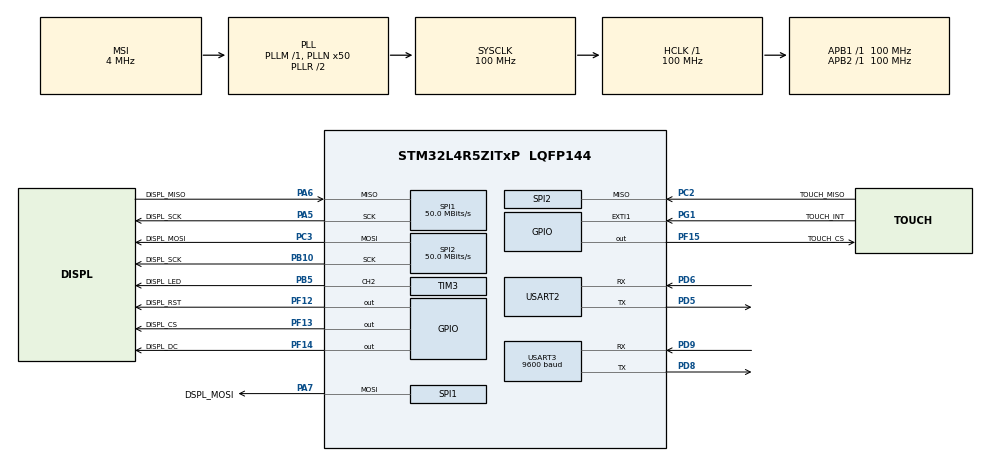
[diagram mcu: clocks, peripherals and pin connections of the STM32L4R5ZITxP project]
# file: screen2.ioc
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Dma.Request0=SPI2_TX
Dma.Request1=SPI1_TX
Dma.SPI1_TX.1.Direction=DMA_MEMORY_TO_PERIPH
Dma.SPI1_TX.1.EventEnable=DISABLE
Dma.SPI1_TX.1.Instance=DMA1_Channel2
Dma.SPI1_TX.1.MemDataAlignment=DMA_MDATAALIGN_BYTE
Dma.SPI1_TX.1.MemInc=DMA_MINC_ENABLE
Dma.SPI1_TX.1.Mode=DMA_NORMAL
Dma.SPI1_TX.1.PeriphDataAlignment=DMA_PDATAALIGN_BYTE
Dma.SPI1_TX.1.PeriphInc=DMA_PINC_DISABLE
Dma.SPI1_TX.1.Polarity=HAL_DMAMUX_REQUEST_GEN_RISING
Dma.SPI1_TX.1.Priority=DMA_PRIORITY_LOW
Dma.SPI1_TX.1.RequestNumber=1
Dma.SPI1_TX.1.SignalID=NONE
Dma.SPI1_TX.1.SyncEnable=DISABLE
Dma.SPI1_TX.1.SyncPolarity=HAL_DMAMUX_SYNC_NO_EVENT
Dma.SPI1_TX.1.SyncRequestNumber=1
Dma.SPI1_TX.1.SyncSignalID=NONE
Dma.SPI2_TX.0.Direction=DMA_MEMORY_TO_PERIPH
Dma.SPI2_TX.0.EventEnable=DISABLE
Dma.SPI2_TX.0.Instance=DMA1_Channel1
Dma.SPI2_TX.0.MemDataAlignment=DMA_MDATAALIGN_BYTE
Dma.SPI2_TX.0.MemInc=DMA_MINC_ENABLE
Dma.SPI2_TX.0.Mode=DMA_NORMAL
Dma.SPI2_TX.0.PeriphDataAlignment=DMA_PDATAALIGN_BYTE
Dma.SPI2_TX.0.PeriphInc=DMA_PINC_DISABLE
Dma.SPI2_TX.0.Polarity=HAL_DMAMUX_REQUEST_GEN_RISING
Dma.SPI2_TX.0.Priority=DMA_PRIORITY_LOW
Dma.SPI2_TX.0.RequestNumber=1
Dma.SPI2_TX.0.SignalID=NONE
Dma.SPI2_TX.0.SyncEnable=DISABLE
Dma.SPI2_TX.0.SyncPolarity=HAL_DMAMUX_SYNC_NO_EVENT
Dma.SPI2_TX.0.SyncRequestNumber=1
Dma.SPI2_TX.0.SyncSignalID=NONE
Mcu.Family=STM32L4
Mcu.Name=STM32L4R5ZITxP
Mcu.Package=LQFP144
NVIC.DMA1_Channel1_IRQn=true\:0\:0\:false\:false\:true\:false\:true\:true
NVIC.DMA1_Channel2_IRQn=true\:0\:0\:false\:false\:true\:false\:true\:true
NVIC.EXTI1_IRQn=true\:0\:0\:false\:false\:true\:true\:true\:true
NVIC.PriorityGroup=NVIC_PRIORITYGROUP_4
NVIC.SPI1_IRQn=true\:0\:0\:false\:false\:true\:true\:true\:true
NVIC.SPI2_IRQn=true\:0\:0\:false\:false\:true\:true\:true\:true
NVIC.USART2_IRQn=true\:0\:0\:false\:false\:true\:true\:true\:true
NVIC.USART3_IRQn=true\:0\:0\:false\:false\:true\:true\:true\:true
PA1.Signal=USART2_RTS
PA10.Signal=USB_OTG_FS_ID
PA13\ (JTMS/SWDIO).Mode=Serial_Wire
PA13\ (JTMS/SWDIO).Signal=SYS_JTMS-SWDIO
PA14\ (JTCK/SWCLK).Mode=Serial_Wire
PA14\ (JTCK/SWCLK).Signal=SYS_JTCK-SWCLK
PA3.Signal=ADCx_IN8
PA4.Signal=SPI1_NSS
PA5.GPIO_Label=DISPL_SCK
PA5.Mode=Full_Duplex_Master
PA5.Signal=SPI1_SCK
PA6.GPIO_Label=DISPL_MISO
PA6.Mode=Full_Duplex_Master
PA6.Signal=SPI1_MISO
PA7.GPIO_Label=DSPL_MOSI
PA7.Mode=Full_Duplex_Master
PA7.Signal=SPI1_MOSI
PA9.Signal=USB_OTG_FS_VBUS
PB0.Signal=S_TIM3_CH3
PB1.Signal=ADCx_IN16
PB10.GPIO_Label=DISPL_SCK
PB10.Mode=Full_Duplex_Master
PB10.Signal=SPI2_SCK
PB12.Signal=SAI2_FS_A
PB13.Signal=SAI2_SCK_A
PB14.Signal=S_TIM15_CH1
PB15.Signal=SAI2_SD_A
PB2.Signal=COMP1_INP
PB5.GPIO_Label=DISPL_LED
PB5.Signal=S_TIM3_CH2
PB6.Signal=COMP2_INP
PB8.Signal=I2C1_SCL
PB9.Signal=I2C1_SDA
PC0.Signal=ADCx_IN1
PC10.Signal=SDMMC1_D2
PC11.Signal=SDMMC1_D3
PC12.Signal=SDMMC1_CK
PC13.Signal=SYS_WKUP2
PC14-OSC32_IN\ (PC14).Signal=RCC_OSC32_IN
PC15-OSC32_OUT\ (PC15).Signal=RCC_OSC32_OUT
PC2.GPIO_Label=TOUCH_MISO
PC2.Mode=Full_Duplex_Master
PC2.Signal=SPI2_MISO
PC3.GPIO_Label=DISPL_MOSI
PC3.Mode=Full_Duplex_Master
PC3.Signal=SPI2_MOSI
PC4.Signal=ADCx_IN13
PC6.Signal=S_TIM3_CH1
PC8.Signal=SDMMC1_D0
PC9.Signal=SDMMC1_D1
PD14.Signal=S_TIM4_CH3
PD15.Signal=S_TIM4_CH4
PD2.Signal=SDMMC1_CMD
PD3.Signal=USART2_CTS
PD5.Mode=Asynchronous
PD5.Signal=USART2_TX
PD6.Mode=Asynchronous
PD6.Signal=USART2_RX
PD8.Mode=Asynchronous
PD8.Signal=USART3_TX
PD9.Mode=Asynchronous
PD9.Signal=USART3_RX
PE0.Signal=S_TIM4_ETR
PE10.Signal=TIM1_CH2N
PE11.Signal=S_TIM1_CH2
PE12.Signal=TIM1_CH3N
PE13.Signal=S_TIM1_CH3
PE14.Signal=TIM1_BKIN2
PE15.Signal=TIM1_BKIN
PE3.Signal=SAI1_SD_B
PE7.Signal=S_TIM1_ETR
PE8.Signal=TIM1_CH1N
PE9.Signal=S_TIM1_CH1
PF0.Signal=I2C2_SDA
PF1.Signal=I2C2_SCL
PF12.GPIO_Label=DISPL_RST
PF12.Signal=GPIO_Output
PF13.GPIO_Label=DISPL_CS
PF13.GPIO_Speed=GPIO_SPEED_FREQ_HIGH
PF13.PinState=GPIO_PIN_SET
PF13.Signal=GPIO_Output
PF14.GPIO_Label=DISPL_DC
PF14.GPIO_Speed=GPIO_SPEED_FREQ_HIGH
PF14.Signal=GPIO_Output
PF15.GPIO_Label=TOUCH_CS
PF15.GPIO_Speed=GPIO_SPEED_FREQ_HIGH
PF15.PinState=GPIO_PIN_SET
PF15.Signal=GPIO_Output
PF2.Signal=I2C2_SMBA
PF7.Signal=SAI1_MCLK_B
PG1.GPIO_Label=TOUCH_INT
PG1.Signal=GPXTI1
PG7.Signal=LPUART1_TX
PG8.Signal=LPUART1_RX
PH0-OSC_IN\ (PH0).Mode=HSE-External-Oscillator
PH0-OSC_IN\ (PH0).Signal=RCC_OSC_IN
PH1-OSC_OUT\ (PH1).Mode=HSE-External-Oscillator
PH1-OSC_OUT\ (PH1).Signal=RCC_OSC_OUT
ProjectManager.HeapSize=0x200
ProjectManager.StackSize=0x400
ProjectManager.TargetToolchain=STM32CubeIDE
RCC.AHBFreq_Value=100000000
RCC.APB1Freq_Value=100000000
RCC.APB1TimFreq_Value=100000000
RCC.APB2Freq_Value=100000000
RCC.APB2TimFreq_Value=100000000
RCC.CortexFreq_Value=100000000
RCC.HCLKFreq_Value=100000000
RCC.HSE_VALUE=25000000
RCC.HSI48_VALUE=48000000
RCC.HSI_VALUE=16000000
RCC.LSE_VALUE=32768
RCC.MSI_VALUE=4000000
RCC.PLLN=50
RCC.SYSCLKFreq_VALUE=100000000
RCC.SYSCLKSource=RCC_SYSCLKSOURCE_PLLCLK
RCC.VCOOutputFreq_Value=200000000
SH.ADCx_IN1.0=ADC1_IN1
SH.ADCx_IN13.0=ADC1_IN13
SH.ADCx_IN16.0=ADC1_IN16
SH.ADCx_IN8.0=ADC1_IN8
SH.S_TIM15_CH1.0=TIM15_CH1
SH.S_TIM1_CH1.0=TIM1_CH1
SH.S_TIM1_CH2.0=TIM1_CH2
SH.S_TIM1_CH3.0=TIM1_CH3
SH.S_TIM1_ETR.0=TIM1_ETR
SH.S_TIM3_CH1.0=TIM3_CH1
SH.S_TIM3_CH2.0=TIM3_CH2,PWM Generation2 CH2
SH.S_TIM3_CH3.0=TIM3_CH3
SH.S_TIM4_CH3.0=TIM4_CH3
SH.S_TIM4_CH4.0=TIM4_CH4
SH.S_TIM4_ETR.0=TIM4_ETR
SPI1.CalculateBaudRate=50.0 MBits/s
SPI1.DataSize=SPI_DATASIZE_8BIT
SPI1.Direction=SPI_DIRECTION_2LINES
SPI1.Mode=SPI_MODE_MASTER
SPI1.VirtualType=VM_MASTER
SPI2.CalculateBaudRate=50.0 MBits/s
SPI2.DataSize=SPI_DATASIZE_8BIT
SPI2.Direction=SPI_DIRECTION_2LINES
SPI2.Mode=SPI_MODE_MASTER
SPI2.VirtualType=VM_MASTER
TIM3.Channel-PWM\ Generation2\ CH2=TIM_CHANNEL_2
TIM3.Period=100
TIM3.Prescaler=10000
USART2.FIFOMode=FIFOMODE_ENABLE
USART2.OverrunDisableParam=ADVFEATURE_OVERRUN_DISABLE
USART2.SwapParam=ADVFEATURE_SWAP_DISABLE
USART2.TXFIFOThreshold=TXFIFO_THRESHOLD_7EIGHTHFULL
USART2.VirtualMode-Asynchronous=VM_ASYNC
USART3.BaudRate=9600
USART3.VirtualMode-Asynchronous=VM_ASYNC
VP_CRC_VS_CRC.Mode=CRC_Activate
board=NUCLEO-L4R5ZI-P

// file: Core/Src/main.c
/* USER CODE BEGIN Header */
/**
  ******************************************************************************
  * @file           : main.c
  * @brief          : Main program body
  ******************************************************************************
  * @attention
  *
  * Copyright (c) 2023 STMicroelectronics.
  * All rights reserved.
  *
  * This software is licensed under terms that can be found in the LICENSE file
  * in the root directory of this software component.
  * If no LICENSE file comes with this software, it is provided AS-IS.
  *
  ******************************************************************************
  */
/* USER CODE END Header */
#include "main.h"

/* USER CODE BEGIN Includes */
#include <string.h>
#include "ili9341.h"
#include "ili9341_touch.h"
#include "app_touchgfx.h"
/* USER CODE END Includes */

/* USER CODE BEGIN PD */
#define maxLetters 50
/* USER CODE END PD */

CRC_HandleTypeDef hcrc;

SPI_HandleTypeDef hspi1;
SPI_HandleTypeDef hspi2;
DMA_HandleTypeDef hdma_spi1_tx;
DMA_HandleTypeDef hdma_spi2_tx;

TIM_HandleTypeDef htim3;

UART_HandleTypeDef huart2;
UART_HandleTypeDef huart3;

/* USER CODE BEGIN PV */
//__IO uint8_t midi_titleBuffer[maxLetters] = "hello world";
//__IO uint8_t rx_counter = 50;
//__IO uint8_t midiTitleReady = 1;

/* USER CODE END PV */

void SystemClock_Config(void);
static void MX_GPIO_Init(void);
static void MX_DMA_Init(void);
static void MX_SPI1_Init(void);
static void MX_SPI2_Init(void);
static void MX_CRC_Init(void);
static void MX_TIM3_Init(void);
static void MX_USART2_UART_Init(void);
static void MX_USART3_UART_Init(void);

/* USER CODE BEGIN 0 */

typedef struct xbee_frame_header {
uint8_t start_delim;
uint16_t length;
uint8_t frame_type;
uint8_t frame_id;
uint16_t dest_addr;
uint8_t options;
} xbee_frame_header_t;

void xbee_send_two_bytes(uint8_t *data, uint8_t *dest) {
	uint8_t checksum = 0xFF;
	xbee_frame_header_t header = {
		.start_delim = 0x7E,
		.length = 7, // num bytes between length and checksum
		.frame_type = 0x01, // 16-bit transmit request
		.frame_id = 0x00, // device will not emit a response frame
		.dest_addr = 0xD161, // broadcast address
		.options = 0, // no options set
	};
	checksum -= (header.frame_type + header.frame_id + dest[0] + dest[1] + data[0] + data[1]);
	uint8_t buf[] = {header.start_delim,
					0,
					header.length,
					header.frame_type,
					header.frame_id,
					dest[0], // dest_addr high bits
					dest[1], // dest_addr low bits
					header.options,
					data[0],
					data[1],
					checksum,
					};
	HAL_UART_Transmit(&huart3, buf, 11, 10000); // header + 2 data bytes + 1 checksum byte
}

uint8_t rx_buf[100] = { 0 };
char wifi_buf[32] = { 0 };
void HAL_UART_RxCpltCallback(UART_HandleTypeDef *huart) {
	 if (huart == &huart3) {
		 HAL_UART_Receive_IT(&huart3, rx_buf, 11);
	  }
	if (huart == &huart2) {
		if (!strcmp(wifi_buf, "unlock_box_\r\n")) {
			uint8_t data[2] = {0x02, 0x00};
			uint8_t dest[2] = {0x11, 0x11};
			xbee_send_two_bytes(data, dest);
		}
		if (!strcmp(wifi_buf, "lock_box___\r\n")) {
			uint8_t data[2] = {0x01, 0x00};
			uint8_t dest[2] = {0x11, 0x11};
			xbee_send_two_bytes(data, dest);
		}
		HAL_UART_Receive_IT(&huart2, wifi_buf, 13);
	}
}

/* USER CODE END 0 */

int main(void)
{

  /* MCU Configuration--------------------------------------------------------*/

  /* Reset of all peripherals, Initializes the Flash interface and the Systick. */
  HAL_Init();

  /* Configure the system clock */
  SystemClock_Config();

  /* Initialize all configured peripherals */
  MX_GPIO_Init();
  MX_DMA_Init();
  MX_SPI1_Init();
  MX_SPI2_Init();
  MX_CRC_Init();
  MX_TIM3_Init();
  MX_USART2_UART_Init();
  MX_USART3_UART_Init();
  /* USER CODE BEGIN 2 */
  Displ_Init(Displ_Orientat_270);		// initialize the display and set the initial display orientation (here is orientaton: 0°) - THIS FUNCTION MUST PRECEED ANY OTHER DISPLAY FUNCTION CALL.
  //touchgfxSignalVSync();		// asks TouchGFX to start initial display drawing
  Displ_BackLight('I');  			// initialize backlight and turn it on at init level
  HAL_UART_Receive_IT(&huart2, wifi_buf, 13);

//  ILI9341_Init();
//
//  // Simple Text writing (Text, Font, X, Y, Color, BackColor)
//  // Available Fonts are FONT1, FONT2, FONT3 and FONT4
//  ILI9341_FillScreen(WHITE);
//  ILI9341_SetRotation(SCREEN_HORIZONTAL_2);
//  ILI9341_DrawText("hIIII", FONT1, 10, 110, BLACK, WHITE);
//  ILI9341_DrawText("Zovic, Jesus, Pranav, Daniel", FONT3, 0, 70, BLACK, WHITE);
//
//  HAL_Delay(1000);
//
//  //Writing numbers
//  ILI9341_FillScreen(WHITE);
//  static char BufferText[30];
//  for(uint8_t i = 0; i <= 5; i++)
//  {
//    sprintf(BufferText, "COUNT : %d", i);
//    ILI9341_DrawText(BufferText, FONT3, 10, 10, BLACK, WHITE);
//    ILI9341_DrawText(BufferText, FONT3, 10, 30, BLUE, WHITE);
//    ILI9341_DrawText(BufferText, FONT3, 10, 50, RED, WHITE);
//    ILI9341_DrawText(BufferText, FONT3, 10, 70, GREEN, WHITE);
//    ILI9341_DrawText(BufferText, FONT3, 10, 90, YELLOW, WHITE);
//    ILI9341_DrawText(BufferText, FONT3, 10, 110, PURPLE, WHITE);
//    ILI9341_DrawText(BufferText, FONT3, 10, 130, ORANGE, WHITE);
//    ILI9341_DrawText(BufferText, FONT3, 10, 150, MAROON, WHITE);
//    ILI9341_DrawText(BufferText, FONT3, 10, 170, WHITE, BLACK);
//    ILI9341_DrawText(BufferText, FONT3, 10, 190, BLUE, BLACK);
//  }
//
//  // Horizontal Line (X, Y, Length, Color)
//  ILI9341_FillScreen(WHITE);
//  ILI9341_DrawHLine(50, 120, 200, NAVY);
//  HAL_Delay(1000);
//
//  // Vertical Line (X, Y, Length, Color)
//  ILI9341_FillScreen(WHITE);
//  ILI9341_DrawVLine(160, 40, 150, DARKGREEN);
//  HAL_Delay(1000);
//
//  // Hollow Circle (Centre X, Centre Y, Radius, Color)
//  ILI9341_FillScreen(WHITE);
//  ILI9341_DrawHollowCircle(160, 120, 80, PINK);
//  HAL_Delay(1000);
//
//  // Filled Circle (Centre X, Centre Y, Radius, Color)
//  ILI9341_FillScreen(WHITE);
//  ILI9341_DrawFilledCircle(160, 120, 50, CYAN);
//  HAL_Delay(1000);
//
//  // Filled Rectangle (Start X, Start Y, Length X, Length Y)
//  ILI9341_FillScreen(WHITE);
//  ILI9341_DrawRectangle(50, 50, 220, 140, GREENYELLOW);
//  HAL_Delay(1000);
//
//  // Hollow Rectangle (Start X, Start Y, End X, End Y)
//  ILI9341_FillScreen(WHITE);
//  ILI9341_DrawHollowRectangleCoord(50, 50, 270, 190, DARKCYAN);
//  HAL_Delay(1000);
//
//  // Simple Pixel Only (X, Y, Color)
//  ILI9341_FillScreen(WHITE);
//  ILI9341_DrawPixel(100, 100, BLACK);
//  HAL_Delay(1000);
  /* USER CODE END 2 */

  /* Infinite loop */
  /* USER CODE BEGIN WHILE */
//  int pressed = 0;
  int start = 1;
  while (1)
  {	 		// asks TouchGFX to get events and redraw screen

	  //ILI9341_DrawFilledRectangleCoord(0, 0, 100, 100, WHITE);
	  if (start) {

		  	  ILI9341_Unselect();

		  	  ILI9341_Init();
	          // Clear the screen
	          ILI9341_FillScreen(WHITE);

	          // Draw rectangles in each corner with text inside
	          ILI9341_FillRectangle(0, 0, 120, 160, ILI9341_BLACK);
	          ILI9341_WriteString(5, 5, "Box:", Font_11x18, ILI9341_WHITE, ILI9341_BLACK);
	          //ILI9341_WriteString(5, 5, "Box: Lock", Font_11x18, ILI9341_WHITE, ILI9341_BLACK);

	          ILI9341_FillRectangle(120, 160, 120, 160, ILI9341_WHITE);
	          ILI9341_WriteString(ILI9341_WIDTH - 115, ILI9341_HEIGHT - 155, "Door:", Font_11x18, ILI9341_WHITE, ILI9341_BLACK);
	          //ILI9341_WriteString(ILI9341_WIDTH - 115, ILI9341_HEIGHT - 155, "Box: Unlock", Font_11x18, ILI9341_WHITE, ILI9341_BLACK);

	          ILI9341_FillRectangle(120, 0, 120, 160, ILI9341_MAGENTA);
	          ILI9341_WriteString(ILI9341_WIDTH - 115, 5, "Door:", Font_11x18, ILI9341_WHITE, ILI9341_BLACK);
	          //ILI9341_WriteString(ILI9341_WIDTH - 115, 5, "Door: Lock", Font_11x18, ILI9341_WHITE, ILI9341_BLACK);

	          ILI9341_FillRectangle(0, 160, 120, 160, ILI9341_CYAN);
	          ILI9341_WriteString(5, ILI9341_HEIGHT - 155, "Box:", Font_11x18, ILI9341_WHITE, ILI9341_BLACK);
	          //ILI9341_WriteString(5, ILI9341_HEIGHT - 155, "Door: Unlock", Font_11x18, ILI9341_WHITE, ILI9341_BLACK);
	          start = 0;
	      }

	  	  if(Touch_In_XY_area(0,  0,120,160)){ //top0 right
	  		  ILI9341_FillRectangle(120, 0, 120, 160, ILI9341_MAGENTA);
	  		ILI9341_WriteString(ILI9341_WIDTH - 115, 5, "Door:", Font_11x18, ILI9341_WHITE, ILI9341_BLACK);
	  		ILI9341_WriteString(ILI9341_WIDTH - 115, ILI9341_HEIGHT - 125, "UNLOCKED", Font_11x18, ILI9341_WHITE, ILI9341_BLACK);
	  		  start = 0;

//	  		  pressed = !pressed;
//	  	  	  touchgfxSignalVSync();		// asks TouchGFX to handle touch and redraw screen
	  	  }
	  	  if(Touch_In_XY_area(160,  120,120,160)){ // bottom left
	  		  	  ILI9341_FillRectangle(0, 160, 120, 160, ILI9341_CYAN);
	  			  ILI9341_WriteString(5, ILI9341_HEIGHT - 155, "Box:", Font_11x18, ILI9341_WHITE, ILI9341_BLACK);
	  			  ILI9341_WriteString(5, 30, "LOCKED", Font_11x18, ILI9341_WHITE, ILI9341_BLACK);
	  	  		  start = 0;
	  	  		  uint8_t data[2] = {0x01, 0x00};
	  	  		  uint8_t dest[2] = {0x11, 0x11};
	  	  		  xbee_send_two_bytes(data, dest);
//	  	  		  pressed = !pressed;
//	  	  	  	  touchgfxSignalVSync();		// asks TouchGFX to handle touch and redraw screen
	  	  	  }
	  	  if(Touch_In_XY_area(160,  0,120,160)){ // top left
	  		  	  ILI9341_FillRectangle(120, 160, 120, 160, ILI9341_WHITE);
	  			  ILI9341_WriteString(ILI9341_WIDTH - 115, ILI9341_HEIGHT - 155, "Door:", Font_11x18, ILI9341_WHITE, ILI9341_BLACK);
	  			  ILI9341_WriteString(ILI9341_WIDTH - 115, 30, "LOCKED", Font_11x18, ILI9341_WHITE, ILI9341_BLACK);
	  	  		  start = 0;
//	  	  		  pressed = !pressed;
	  	  	  	  //touchgfxSignalVSync();		// asks TouchGFX to handle touch and redraw screen
	  	  	  }
	  	  if(Touch_In_XY_area(0,  120,120,160)){ // bottom right
	  		  	  ILI9341_FillRectangle(0, 0, 120, 160, ILI9341_BLACK);
	  			  ILI9341_WriteString(5, 5, "Box:", Font_11x18, ILI9341_WHITE, ILI9341_BLACK);
	  			  ILI9341_WriteString(5, ILI9341_HEIGHT - 125, "UNLOCK", Font_11x18, ILI9341_WHITE, ILI9341_BLACK);
	  	  		  start = 0;

	  	  		  uint8_t data[2] = {0x02, 0x00};
	  	  		  uint8_t dest[2] = {0x11, 0x11};
	  	  		  xbee_send_two_bytes(data, dest);

//	  	  		  pressed = !pressed;
	  	  	  	  //touchgfxSignalVSync();		// asks TouchGFX to handle touch and redraw screen
	  	  	  }

    /* USER CODE END WHILE */

  }
}

void SystemClock_Config(void)
{
  RCC_OscInitTypeDef RCC_OscInitStruct = {0};
  RCC_ClkInitTypeDef RCC_ClkInitStruct = {0};

  /** Configure the main internal regulator output voltage
  */
  if (HAL_PWREx_ControlVoltageScaling(PWR_REGULATOR_VOLTAGE_SCALE1_BOOST) != HAL_OK)
  {
    Error_Handler();
  }

  /** Initializes the RCC Oscillators according to the specified parameters
  * in the RCC_OscInitTypeDef structure.
  */
  RCC_OscInitStruct.OscillatorType = RCC_OSCILLATORTYPE_MSI;
  RCC_OscInitStruct.MSIState = RCC_MSI_ON;
  RCC_OscInitStruct.MSICalibrationValue = 0;
  RCC_OscInitStruct.MSIClockRange = RCC_MSIRANGE_6;
  RCC_OscInitStruct.PLL.PLLState = RCC_PLL_ON;
  RCC_OscInitStruct.PLL.PLLSource = RCC_PLLSOURCE_MSI;
  RCC_OscInitStruct.PLL.PLLM = 1;
  RCC_OscInitStruct.PLL.PLLN = 50;
  RCC_OscInitStruct.PLL.PLLP = RCC_PLLP_DIV2;
  RCC_OscInitStruct.PLL.PLLQ = RCC_PLLQ_DIV2;
  RCC_OscInitStruct.PLL.PLLR = RCC_PLLR_DIV2;
  if (HAL_RCC_OscConfig(&RCC_OscInitStruct) != HAL_OK)
  {
    Error_Handler();
  }

  /** Initializes the CPU, AHB and APB buses clocks
  */
  RCC_ClkInitStruct.ClockType = RCC_CLOCKTYPE_HCLK|RCC_CLOCKTYPE_SYSCLK
                              |RCC_CLOCKTYPE_PCLK1|RCC_CLOCKTYPE_PCLK2;
  RCC_ClkInitStruct.SYSCLKSource = RCC_SYSCLKSOURCE_PLLCLK;
  RCC_ClkInitStruct.AHBCLKDivider = RCC_SYSCLK_DIV1;
  RCC_ClkInitStruct.APB1CLKDivider = RCC_HCLK_DIV1;
  RCC_ClkInitStruct.APB2CLKDivider = RCC_HCLK_DIV1;

  if (HAL_RCC_ClockConfig(&RCC_ClkInitStruct, FLASH_LATENCY_4) != HAL_OK)
  {
    Error_Handler();
  }
}

static void MX_CRC_Init(void)
{

  hcrc.Instance = CRC;
  hcrc.Init.DefaultPolynomialUse = DEFAULT_POLYNOMIAL_ENABLE;
  hcrc.Init.DefaultInitValueUse = DEFAULT_INIT_VALUE_ENABLE;
  hcrc.Init.InputDataInversionMode = CRC_INPUTDATA_INVERSION_NONE;
  hcrc.Init.OutputDataInversionMode = CRC_OUTPUTDATA_INVERSION_DISABLE;
  hcrc.InputDataFormat = CRC_INPUTDATA_FORMAT_BYTES;
  if (HAL_CRC_Init(&hcrc) != HAL_OK)
  {
    Error_Handler();
  }

}

static void MX_SPI1_Init(void)
{

  /* SPI1 parameter configuration*/
  hspi1.Instance = SPI1;
  hspi1.Init.Mode = SPI_MODE_MASTER;
  hspi1.Init.Direction = SPI_DIRECTION_2LINES;
  hspi1.Init.DataSize = SPI_DATASIZE_8BIT;
  hspi1.Init.CLKPolarity = SPI_POLARITY_LOW;
  hspi1.Init.CLKPhase = SPI_PHASE_1EDGE;
  hspi1.Init.NSS = SPI_NSS_SOFT;
  hspi1.Init.BaudRatePrescaler = SPI_BAUDRATEPRESCALER_2;
  hspi1.Init.FirstBit = SPI_FIRSTBIT_MSB;
  hspi1.Init.TIMode = SPI_TIMODE_DISABLE;
  hspi1.Init.CRCCalculation = SPI_CRCCALCULATION_DISABLE;
  hspi1.Init.CRCPolynomial = 7;
  hspi1.Init.CRCLength = SPI_CRC_LENGTH_DATASIZE;
  hspi1.Init.NSSPMode = SPI_NSS_PULSE_ENABLE;
  if (HAL_SPI_Init(&hspi1) != HAL_OK)
  {
    Error_Handler();
  }

}

static void MX_SPI2_Init(void)
{

  /* SPI2 parameter configuration*/
  hspi2.Instance = SPI2;
  hspi2.Init.Mode = SPI_MODE_MASTER;
  hspi2.Init.Direction = SPI_DIRECTION_2LINES;
  hspi2.Init.DataSize = SPI_DATASIZE_8BIT;
  hspi2.Init.CLKPolarity = SPI_POLARITY_LOW;
  hspi2.Init.CLKPhase = SPI_PHASE_1EDGE;
  hspi2.Init.NSS = SPI_NSS_SOFT;
  hspi2.Init.BaudRatePrescaler = SPI_BAUDRATEPRESCALER_2;
  hspi2.Init.FirstBit = SPI_FIRSTBIT_MSB;
  hspi2.Init.TIMode = SPI_TIMODE_DISABLE;
  hspi2.Init.CRCCalculation = SPI_CRCCALCULATION_DISABLE;
  hspi2.Init.CRCPolynomial = 7;
  hspi2.Init.CRCLength = SPI_CRC_LENGTH_DATASIZE;
  hspi2.Init.NSSPMode = SPI_NSS_PULSE_ENABLE;
  if (HAL_SPI_Init(&hspi2) != HAL_OK)
  {
    Error_Handler();
  }

}

static void MX_TIM3_Init(void)
{

  TIM_MasterConfigTypeDef sMasterConfig = {0};
  TIM_OC_InitTypeDef sConfigOC = {0};

  htim3.Instance = TIM3;
  htim3.Init.Prescaler = 10000;
  htim3.Init.CounterMode = TIM_COUNTERMODE_UP;
  htim3.Init.Period = 100;
  htim3.Init.ClockDivision = TIM_CLOCKDIVISION_DIV1;
  htim3.Init.AutoReloadPreload = TIM_AUTORELOAD_PRELOAD_DISABLE;
  if (HAL_TIM_PWM_Init(&htim3) != HAL_OK)
  {
    Error_Handler();
  }
  sMasterConfig.MasterOutputTrigger = TIM_TRGO_RESET;
  sMasterConfig.MasterSlaveMode = TIM_MASTERSLAVEMODE_DISABLE;
  if (HAL_TIMEx_MasterConfigSynchronization(&htim3, &sMasterConfig) != HAL_OK)
  {
    Error_Handler();
  }
  sConfigOC.OCMode = TIM_OCMODE_PWM1;
  sConfigOC.Pulse = 0;
  sConfigOC.OCPolarity = TIM_OCPOLARITY_HIGH;
  sConfigOC.OCFastMode = TIM_OCFAST_DISABLE;
  if (HAL_TIM_PWM_ConfigChannel(&htim3, &sConfigOC, TIM_CHANNEL_2) != HAL_OK)
  {
    Error_Handler();
  }
  HAL_TIM_MspPostInit(&htim3);

}

static void MX_USART2_UART_Init(void)
{

  huart2.Instance = USART2;
  huart2.Init.BaudRate = 115200;
  huart2.Init.WordLength = UART_WORDLENGTH_8B;
  huart2.Init.StopBits = UART_STOPBITS_1;
  huart2.Init.Parity = UART_PARITY_NONE;
  huart2.Init.Mode = UART_MODE_TX_RX;
  huart2.Init.HwFlowCtl = UART_HWCONTROL_NONE;
  huart2.Init.OverSampling = UART_OVERSAMPLING_16;
  huart2.Init.OneBitSampling = UART_ONE_BIT_SAMPLE_DISABLE;
  huart2.Init.ClockPrescaler = UART_PRESCALER_DIV1;
  huart2.AdvancedInit.AdvFeatureInit = UART_ADVFEATURE_RXOVERRUNDISABLE_INIT;
  huart2.AdvancedInit.OverrunDisable = UART_ADVFEATURE_OVERRUN_DISABLE;
  if (HAL_UART_Init(&huart2) != HAL_OK)
  {
    Error_Handler();
  }
  if (HAL_UARTEx_SetTxFifoThreshold(&huart2, UART_TXFIFO_THRESHOLD_7_8) != HAL_OK)
  {
    Error_Handler();
  }
  if (HAL_UARTEx_SetRxFifoThreshold(&huart2, UART_RXFIFO_THRESHOLD_1_8) != HAL_OK)
  {
    Error_Handler();
  }
  if (HAL_UARTEx_EnableFifoMode(&huart2) != HAL_OK)
  {
    Error_Handler();
  }

}

static void MX_USART3_UART_Init(void)
{

  huart3.Instance = USART3;
  huart3.Init.BaudRate = 9600;
  huart3.Init.WordLength = UART_WORDLENGTH_8B;
  huart3.Init.StopBits = UART_STOPBITS_1;
  huart3.Init.Parity = UART_PARITY_NONE;
  huart3.Init.Mode = UART_MODE_TX_RX;
  huart3.Init.HwFlowCtl = UART_HWCONTROL_NONE;
  huart3.Init.OverSampling = UART_OVERSAMPLING_16;
  huart3.Init.OneBitSampling = UART_ONE_BIT_SAMPLE_DISABLE;
  huart3.Init.ClockPrescaler = UART_PRESCALER_DIV1;
  huart3.AdvancedInit.AdvFeatureInit = UART_ADVFEATURE_NO_INIT;
  if (HAL_UART_Init(&huart3) != HAL_OK)
  {
    Error_Handler();
  }
  if (HAL_UARTEx_SetTxFifoThreshold(&huart3, UART_TXFIFO_THRESHOLD_1_8) != HAL_OK)
  {
    Error_Handler();
  }
  if (HAL_UARTEx_SetRxFifoThreshold(&huart3, UART_RXFIFO_THRESHOLD_1_8) != HAL_OK)
  {
    Error_Handler();
  }
  if (HAL_UARTEx_DisableFifoMode(&huart3) != HAL_OK)
  {
    Error_Handler();
  }

}

static void MX_DMA_Init(void)
{

  /* DMA controller clock enable */
  __HAL_RCC_DMAMUX1_CLK_ENABLE();
  __HAL_RCC_DMA1_CLK_ENABLE();

  /* DMA interrupt init */
  /* DMA1_Channel1_IRQn interrupt configuration */
  HAL_NVIC_SetPriority(DMA1_Channel1_IRQn, 0, 0);
  HAL_NVIC_EnableIRQ(DMA1_Channel1_IRQn);
  /* DMA1_Channel2_IRQn interrupt configuration */
  HAL_NVIC_SetPriority(DMA1_Channel2_IRQn, 0, 0);
  HAL_NVIC_EnableIRQ(DMA1_Channel2_IRQn);

}

static void MX_GPIO_Init(void)
{
  GPIO_InitTypeDef GPIO_InitStruct = {0};

  /* GPIO Ports Clock Enable */
  __HAL_RCC_GPIOE_CLK_ENABLE();
  __HAL_RCC_GPIOC_CLK_ENABLE();
  __HAL_RCC_GPIOF_CLK_ENABLE();
  __HAL_RCC_GPIOH_CLK_ENABLE();
  __HAL_RCC_GPIOA_CLK_ENABLE();
  __HAL_RCC_GPIOB_CLK_ENABLE();
  __HAL_RCC_GPIOG_CLK_ENABLE();
  __HAL_RCC_GPIOD_CLK_ENABLE();
  HAL_PWREx_EnableVddIO2();

  /*Configure GPIO pin Output Level */
  HAL_GPIO_WritePin(GPIOF, DISPL_RST_Pin|DISPL_DC_Pin, GPIO_PIN_RESET);

  /*Configure GPIO pin Output Level */
  HAL_GPIO_WritePin(GPIOF, DISPL_CS_Pin|TOUCH_CS_Pin, GPIO_PIN_SET);

  /*Configure GPIO pin : PE3 */
  GPIO_InitStruct.Pin = GPIO_PIN_3;
  GPIO_InitStruct.Mode = GPIO_MODE_AF_PP;
  GPIO_InitStruct.Pull = GPIO_NOPULL;
  GPIO_InitStruct.Speed = GPIO_SPEED_FREQ_LOW;
  GPIO_InitStruct.Alternate = GPIO_AF13_SAI1;
  HAL_GPIO_Init(GPIOE, &GPIO_InitStruct);

  /*Configure GPIO pins : PF0 PF1 PF2 */
  GPIO_InitStruct.Pin = GPIO_PIN_0|GPIO_PIN_1|GPIO_PIN_2;
  GPIO_InitStruct.Mode = GPIO_MODE_AF_OD;
  GPIO_InitStruct.Pull = GPIO_NOPULL;
  GPIO_InitStruct.Speed = GPIO_SPEED_FREQ_VERY_HIGH;
  GPIO_InitStruct.Alternate = GPIO_AF4_I2C2;
  HAL_GPIO_Init(GPIOF, &GPIO_InitStruct);

  /*Configure GPIO pin : PF7 */
  GPIO_InitStruct.Pin = GPIO_PIN_7;
  GPIO_InitStruct.Mode = GPIO_MODE_AF_PP;
  GPIO_InitStruct.Pull = GPIO_NOPULL;
  GPIO_InitStruct.Speed = GPIO_SPEED_FREQ_LOW;
  GPIO_InitStruct.Alternate = GPIO_AF13_SAI1;
  HAL_GPIO_Init(GPIOF, &GPIO_InitStruct);

  /*Configure GPIO pins : PC0 PC4 */
  GPIO_InitStruct.Pin = GPIO_PIN_0|GPIO_PIN_4;
  GPIO_InitStruct.Mode = GPIO_MODE_ANALOG_ADC_CONTROL;
  GPIO_InitStruct.Pull = GPIO_NOPULL;
  HAL_GPIO_Init(GPIOC, &GPIO_InitStruct);

  /*Configure GPIO pin : PA3 */
  GPIO_InitStruct.Pin = GPIO_PIN_3;
  GPIO_InitStruct.Mode = GPIO_MODE_ANALOG_ADC_CONTROL;
  GPIO_InitStruct.Pull = GPIO_NOPULL;
  HAL_GPIO_Init(GPIOA, &GPIO_InitStruct);

  /*Configure GPIO pin : PB1 */
  GPIO_InitStruct.Pin = GPIO_PIN_1;
  GPIO_InitStruct.Mode = GPIO_MODE_ANALOG_ADC_CONTROL;
  GPIO_InitStruct.Pull = GPIO_NOPULL;
  HAL_GPIO_Init(GPIOB, &GPIO_InitStruct);

  /*Configure GPIO pins : PB2 PB6 */
  GPIO_InitStruct.Pin = GPIO_PIN_2|GPIO_PIN_6;
  GPIO_InitStruct.Mode = GPIO_MODE_ANALOG;
  GPIO_InitStruct.Pull = GPIO_NOPULL;
  HAL_GPIO_Init(GPIOB, &GPIO_InitStruct);

  /*Configure GPIO pin : DISPL_RST_Pin */
  GPIO_InitStruct.Pin = DISPL_RST_Pin;
  GPIO_InitStruct.Mode = GPIO_MODE_OUTPUT_PP;
  GPIO_InitStruct.Pull = GPIO_NOPULL;
  GPIO_InitStruct.Speed = GPIO_SPEED_FREQ_LOW;
  HAL_GPIO_Init(DISPL_RST_GPIO_Port, &GPIO_InitStruct);

  /*Configure GPIO pins : DISPL_CS_Pin DISPL_DC_Pin TOUCH_CS_Pin */
  GPIO_InitStruct.Pin = DISPL_CS_Pin|DISPL_DC_Pin|TOUCH_CS_Pin;
  GPIO_InitStruct.Mode = GPIO_MODE_OUTPUT_PP;
  GPIO_InitStruct.Pull = GPIO_NOPULL;
  GPIO_InitStruct.Speed = GPIO_SPEED_FREQ_HIGH;
  HAL_GPIO_Init(GPIOF, &GPIO_InitStruct);

  /*Configure GPIO pin : TOUCH_INT_Pin */
  GPIO_InitStruct.Pin = TOUCH_INT_Pin;
  GPIO_InitStruct.Mode = GPIO_MODE_IT_RISING;
  GPIO_InitStruct.Pull = GPIO_NOPULL;
  HAL_GPIO_Init(TOUCH_INT_GPIO_Port, &GPIO_InitStruct);

  /*Configure GPIO pins : PE7 PE8 PE9 PE10
                           PE11 PE12 PE13 */
  GPIO_InitStruct.Pin = GPIO_PIN_7|GPIO_PIN_8|GPIO_PIN_9|GPIO_PIN_10
                          |GPIO_PIN_11|GPIO_PIN_12|GPIO_PIN_13;
  GPIO_InitStruct.Mode = GPIO_MODE_AF_PP;
  GPIO_InitStruct.Pull = GPIO_NOPULL;
  GPIO_InitStruct.Speed = GPIO_SPEED_FREQ_LOW;
  GPIO_InitStruct.Alternate = GPIO_AF1_TIM1;
  HAL_GPIO_Init(GPIOE, &GPIO_InitStruct);

  /*Configure GPIO pins : PE14 PE15 */
  GPIO_InitStruct.Pin = GPIO_PIN_14|GPIO_PIN_15;
  GPIO_InitStruct.Mode = GPIO_MODE_AF_PP;
  GPIO_InitStruct.Pull = GPIO_NOPULL;
  GPIO_InitStruct.Speed = GPIO_SPEED_FREQ_LOW;
  GPIO_InitStruct.Alternate = GPIO_AF3_TIM1_COMP1;
  HAL_GPIO_Init(GPIOE, &GPIO_InitStruct);

  /*Configure GPIO pins : PB12 PB13 PB15 */
  GPIO_InitStruct.Pin = GPIO_PIN_12|GPIO_PIN_13|GPIO_PIN_15;
  GPIO_InitStruct.Mode = GPIO_MODE_AF_PP;
  GPIO_InitStruct.Pull = GPIO_NOPULL;
  GPIO_InitStruct.Speed = GPIO_SPEED_FREQ_LOW;
  GPIO_InitStruct.Alternate = GPIO_AF13_SAI2;
  HAL_GPIO_Init(GPIOB, &GPIO_InitStruct);

  /*Configure GPIO pin : PB14 */
  GPIO_InitStruct.Pin = GPIO_PIN_14;
  GPIO_InitStruct.Mode = GPIO_MODE_AF_PP;
  GPIO_InitStruct.Pull = GPIO_NOPULL;
  GPIO_InitStruct.Speed = GPIO_SPEED_FREQ_LOW;
  GPIO_InitStruct.Alternate = GPIO_AF14_TIM15;
  HAL_GPIO_Init(GPIOB, &GPIO_InitStruct);

  /*Configure GPIO pins : PD14 PD15 */
  GPIO_InitStruct.Pin = GPIO_PIN_14|GPIO_PIN_15;
  GPIO_InitStruct.Mode = GPIO_MODE_AF_PP;
  GPIO_InitStruct.Pull = GPIO_NOPULL;
  GPIO_InitStruct.Speed = GPIO_SPEED_FREQ_LOW;
  GPIO_InitStruct.Alternate = GPIO_AF2_TIM4;
  HAL_GPIO_Init(GPIOD, &GPIO_InitStruct);

  /*Configure GPIO pins : PG7 PG8 */
  GPIO_InitStruct.Pin = GPIO_PIN_7|GPIO_PIN_8;
  GPIO_InitStruct.Mode = GPIO_MODE_AF_PP;
  GPIO_InitStruct.Pull = GPIO_NOPULL;
  GPIO_InitStruct.Speed = GPIO_SPEED_FREQ_VERY_HIGH;
  GPIO_InitStruct.Alternate = GPIO_AF8_LPUART1;
  HAL_GPIO_Init(GPIOG, &GPIO_InitStruct);

  /*Configure GPIO pins : PC8 PC9 PC10 PC11
                           PC12 */
  GPIO_InitStruct.Pin = GPIO_PIN_8|GPIO_PIN_9|GPIO_PIN_10|GPIO_PIN_11
                          |GPIO_PIN_12;
  GPIO_InitStruct.Mode = GPIO_MODE_AF_PP;
  GPIO_InitStruct.Pull = GPIO_NOPULL;
  GPIO_InitStruct.Speed = GPIO_SPEED_FREQ_VERY_HIGH;
  GPIO_InitStruct.Alternate = GPIO_AF12_SDMMC1;
  HAL_GPIO_Init(GPIOC, &GPIO_InitStruct);

  /*Configure GPIO pin : PA9 */
  GPIO_InitStruct.Pin = GPIO_PIN_9;
  GPIO_InitStruct.Mode = GPIO_MODE_INPUT;
  GPIO_InitStruct.Pull = GPIO_NOPULL;
  HAL_GPIO_Init(GPIOA, &GPIO_InitStruct);

  /*Configure GPIO pin : PA10 */
  GPIO_InitStruct.Pin = GPIO_PIN_10;
  GPIO_InitStruct.Mode = GPIO_MODE_AF_PP;
  GPIO_InitStruct.Pull = GPIO_NOPULL;
  GPIO_InitStruct.Speed = GPIO_SPEED_FREQ_VERY_HIGH;
  GPIO_InitStruct.Alternate = GPIO_AF10_OTG_FS;
  HAL_GPIO_Init(GPIOA, &GPIO_InitStruct);

  /*Configure GPIO pin : PD2 */
  GPIO_InitStruct.Pin = GPIO_PIN_2;
  GPIO_InitStruct.Mode = GPIO_MODE_AF_PP;
  GPIO_InitStruct.Pull = GPIO_NOPULL;
  GPIO_InitStruct.Speed = GPIO_SPEED_FREQ_VERY_HIGH;
  GPIO_InitStruct.Alternate = GPIO_AF12_SDMMC1;
  HAL_GPIO_Init(GPIOD, &GPIO_InitStruct);

  /*Configure GPIO pins : PB8 PB9 */
  GPIO_InitStruct.Pin = GPIO_PIN_8|GPIO_PIN_9;
  GPIO_InitStruct.Mode = GPIO_MODE_AF_OD;
  GPIO_InitStruct.Pull = GPIO_NOPULL;
  GPIO_InitStruct.Speed = GPIO_SPEED_FREQ_VERY_HIGH;
  GPIO_InitStruct.Alternate = GPIO_AF4_I2C1;
  HAL_GPIO_Init(GPIOB, &GPIO_InitStruct);

  /*Configure GPIO pin : PE0 */
  GPIO_InitStruct.Pin = GPIO_PIN_0;
  GPIO_InitStruct.Mode = GPIO_MODE_AF_PP;
  GPIO_InitStruct.Pull = GPIO_NOPULL;
  GPIO_InitStruct.Speed = GPIO_SPEED_FREQ_LOW;
  GPIO_InitStruct.Alternate = GPIO_AF2_TIM4;
  HAL_GPIO_Init(GPIOE, &GPIO_InitStruct);

  /* EXTI interrupt init*/
  HAL_NVIC_SetPriority(EXTI1_IRQn, 0, 0);
  HAL_NVIC_EnableIRQ(EXTI1_IRQn);

}

void Error_Handler(void)
{
  __disable_irq();
  while (1)
  {
  }
}
